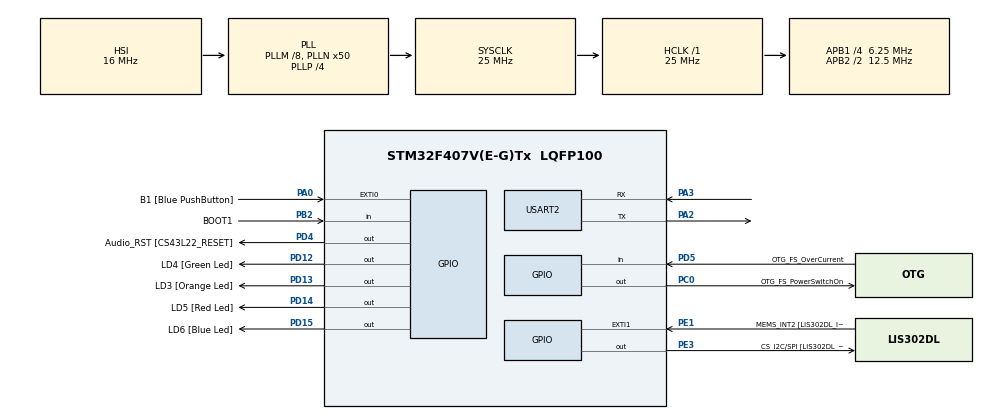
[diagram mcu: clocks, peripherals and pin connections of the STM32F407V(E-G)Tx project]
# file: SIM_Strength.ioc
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FREERTOS.Tasks01=defaultTask,0,128,StartDefaultTask,Default,NULL,Dynamic,NULL,NULL
Mcu.Family=STM32F4
Mcu.Name=STM32F407V(E-G)Tx
Mcu.Package=LQFP100
NVIC.PriorityGroup=NVIC_PRIORITYGROUP_4
NVIC.TIM6_DAC_IRQn=true\:15\:0\:false\:false\:true\:false\:false\:true\:true
NVIC.TimeBase=TIM6_DAC_IRQn
NVIC.TimeBaseIP=TIM6
NVIC.USART2_IRQn=true\:6\:0\:true\:false\:true\:true\:true\:true\:true
PA0-WKUP.GPIO_Label=B1 [Blue PushButton]
PA0-WKUP.Signal=GPXTI0
PA10.GPIO_Label=OTG_FS_ID
PA10.GPIO_Mode=GPIO_MODE_AF_PP
PA10.GPIO_PuPd=GPIO_NOPULL
PA10.GPIO_Speed=GPIO_SPEED_FREQ_LOW
PA10.Signal=USB_OTG_FS_ID
PA11.GPIO_Label=OTG_FS_DM
PA11.GPIO_Mode=GPIO_MODE_AF_PP
PA11.GPIO_PuPd=GPIO_NOPULL
PA11.GPIO_Speed=GPIO_SPEED_FREQ_LOW
PA11.Signal=USB_OTG_FS_DM
PA12.GPIO_Label=OTG_FS_DP
PA12.GPIO_Mode=GPIO_MODE_AF_PP
PA12.GPIO_PuPd=GPIO_NOPULL
PA12.GPIO_Speed=GPIO_SPEED_FREQ_LOW
PA12.Signal=USB_OTG_FS_DP
PA13.GPIO_Label=SWDIO
PA13.Signal=SYS_JTMS-SWDIO
PA14.GPIO_Label=SWCLK
PA14.Signal=SYS_JTCK-SWCLK
PA2.Mode=Asynchronous
PA2.Signal=USART2_TX
PA3.Mode=Asynchronous
PA3.Signal=USART2_RX
PA4.GPIO_Label=I2S3_WS [CS43L22_LRCK]
PA4.GPIO_Mode=GPIO_MODE_AF_PP
PA4.GPIO_PuPd=GPIO_NOPULL
PA4.GPIO_Speed=GPIO_SPEED_FREQ_LOW
PA4.Signal=I2S3_WS
PA5.GPIO_Label=SPI1_SCK [LIS302DL_SCL/SPC]
PA5.GPIO_Mode=GPIO_MODE_AF_PP
PA5.GPIO_PuPd=GPIO_NOPULL
PA5.GPIO_Speed=GPIO_SPEED_FREQ_LOW
PA5.Signal=SPI1_SCK
PA6.GPIO_Label=SPI1_MISO [LIS302DL_SDO]
PA6.GPIO_Mode=GPIO_MODE_AF_PP
PA6.GPIO_PuPd=GPIO_NOPULL
PA6.GPIO_Speed=GPIO_SPEED_FREQ_LOW
PA6.Signal=SPI1_MISO
PA7.GPIO_Label=SPI1_MOSI [LIS302DL_SDA/SDI/SDO]
PA7.GPIO_Mode=GPIO_MODE_AF_PP
PA7.GPIO_PuPd=GPIO_NOPULL
PA7.GPIO_Speed=GPIO_SPEED_FREQ_LOW
PA7.Signal=SPI1_MOSI
PA9.GPIO_Label=VBUS_FS
PA9.GPIO_Mode=GPIO_MODE_INPUT
PA9.GPIO_PuPd=GPIO_NOPULL
PA9.Signal=USB_OTG_FS_VBUS
PB10.GPIO_Label=CLK_IN [MP45DT02_CLK]
PB10.GPIO_Mode=GPIO_MODE_AF_PP
PB10.GPIO_PuPd=GPIO_NOPULL
PB10.GPIO_Speed=GPIO_SPEED_FREQ_LOW
PB10.Signal=I2S2_CK
PB2.GPIO_Label=BOOT1
PB2.GPIO_Mode=GPIO_MODE_INPUT
PB2.GPIO_PuPd=GPIO_NOPULL
PB2.Signal=GPIO_Input
PB3.GPIO_Label=SWO
PB3.Signal=SYS_JTDO-SWO
PB6.GPIO_Label=Audio_SCL [CS43L22_SCL]
PB6.GPIO_Mode=GPIO_MODE_AF_OD
PB6.GPIO_PuPd=GPIO_NOPULL
PB6.GPIO_Speed=GPIO_SPEED_FREQ_LOW
PB6.Signal=I2C1_SCL
PB9.GPIO_Label=Audio_SDA [CS43L22_SDA]
PB9.GPIO_Mode=GPIO_MODE_AF_OD
PB9.GPIO_PuPd=GPIO_NOPULL
PB9.GPIO_Speed=GPIO_SPEED_FREQ_LOW
PB9.Signal=I2C1_SDA
PC0.GPIO_Label=OTG_FS_PowerSwitchOn
PC0.GPIO_PuPd=GPIO_NOPULL
PC0.GPIO_Speed=GPIO_SPEED_FREQ_LOW
PC0.PinState=GPIO_PIN_SET
PC0.Signal=GPIO_Output
PC10.GPIO_Label=I2S3_SCK [CS43L22_SCLK]
PC10.GPIO_Mode=GPIO_MODE_AF_PP
PC10.GPIO_PuPd=GPIO_NOPULL
PC10.GPIO_Speed=GPIO_SPEED_FREQ_LOW
PC10.Signal=I2S3_CK
PC12.GPIO_Label=I2S3_SD [CS43L22_SDIN]
PC12.GPIO_Mode=GPIO_MODE_AF_PP
PC12.GPIO_PuPd=GPIO_NOPULL
PC12.GPIO_Speed=GPIO_SPEED_FREQ_LOW
PC12.Signal=I2S3_SD
PC14-OSC32_IN.GPIO_Label=PC14-OSC32_IN
PC14-OSC32_IN.Signal=RCC_OSC32_IN
PC15-OSC32_OUT.GPIO_Label=PC15-OSC32_OUT
PC15-OSC32_OUT.Signal=RCC_OSC32_OUT
PC3.GPIO_Label=PDM_OUT [MP45DT02_DOUT]
PC3.GPIO_Mode=GPIO_MODE_AF_PP
PC3.GPIO_PuPd=GPIO_NOPULL
PC3.GPIO_Speed=GPIO_SPEED_FREQ_LOW
PC3.Signal=I2S2_SD
PC7.GPIO_Label=I2S3_MCK [CS43L22_MCLK]
PC7.GPIO_Mode=GPIO_MODE_AF_PP
PC7.GPIO_PuPd=GPIO_NOPULL
PC7.GPIO_Speed=GPIO_SPEED_FREQ_LOW
PC7.Signal=I2S3_MCK
PD12.GPIO_Label=LD4 [Green Led]
PD12.GPIO_PuPd=GPIO_NOPULL
PD12.GPIO_Speed=GPIO_SPEED_FREQ_LOW
PD12.Signal=GPIO_Output
PD13.GPIO_Label=LD3 [Orange Led]
PD13.GPIO_PuPd=GPIO_NOPULL
PD13.GPIO_Speed=GPIO_SPEED_FREQ_LOW
PD13.Signal=GPIO_Output
PD14.GPIO_Label=LD5 [Red Led]
PD14.GPIO_PuPd=GPIO_NOPULL
PD14.GPIO_Speed=GPIO_SPEED_FREQ_LOW
PD14.Signal=GPIO_Output
PD15.GPIO_Label=LD6 [Blue Led]
PD15.GPIO_PuPd=GPIO_NOPULL
PD15.GPIO_Speed=GPIO_SPEED_FREQ_LOW
PD15.Signal=GPIO_Output
PD4.GPIO_Label=Audio_RST [CS43L22_RESET]
PD4.GPIO_PuPd=GPIO_NOPULL
PD4.GPIO_Speed=GPIO_SPEED_FREQ_LOW
PD4.Signal=GPIO_Output
PD5.GPIO_Label=OTG_FS_OverCurrent
PD5.GPIO_Mode=GPIO_MODE_INPUT
PD5.GPIO_PuPd=GPIO_NOPULL
PD5.Signal=GPIO_Input
PE1.GPIO_Label=MEMS_INT2 [LIS302DL_INT2]
PE1.GPIO_ModeDefaultEXTI=GPIO_MODE_EVT_RISING
PE1.GPIO_PuPd=GPIO_NOPULL
PE1.Signal=GPXTI1
PE3.GPIO_Label=CS_I2C/SPI [LIS302DL_CS_I2C/SPI]
PE3.GPIO_PuPd=GPIO_NOPULL
PE3.GPIO_Speed=GPIO_SPEED_FREQ_LOW
PE3.Signal=GPIO_Output
PH0-OSC_IN.GPIO_Label=PH0-OSC_IN
PH0-OSC_IN.Signal=RCC_OSC_IN
PH1-OSC_OUT.GPIO_Label=PH1-OSC_OUT
PH1-OSC_OUT.Signal=RCC_OSC_OUT
ProjectManager.HeapSize=0x200
ProjectManager.StackSize=0x400
ProjectManager.TargetToolchain=STM32CubeIDE
RCC.48MHZClocksFreq_Value=14285714.285714285
RCC.AHBFreq_Value=25000000
RCC.APB1CLKDivider=RCC_HCLK_DIV4
RCC.APB1Freq_Value=6250000
RCC.APB1TimFreq_Value=12500000
RCC.APB2CLKDivider=RCC_HCLK_DIV2
RCC.APB2Freq_Value=12500000
RCC.APB2TimFreq_Value=25000000
RCC.CortexFreq_Value=25000000
RCC.HCLKFreq_Value=25000000
RCC.HSE_VALUE=8000000
RCC.HSI_VALUE=16000000
RCC.LSE_VALUE=32768
RCC.PLLM=8
RCC.PLLN=50
RCC.PLLP=RCC_PLLP_DIV4
RCC.PLLQ=7
RCC.SYSCLKFreq_VALUE=25000000
RCC.SYSCLKSource=RCC_SYSCLKSOURCE_PLLCLK
RCC.VCOOutputFreq_Value=100000000
USART2.VirtualMode=VM_ASYNC
VP_FREERTOS_VS_CMSIS_V1.Mode=CMSIS_V1
VP_SYS_VS_tim6.Mode=TIM6
board=STM32F407G-DISC1

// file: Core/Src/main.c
/* USER CODE BEGIN Header */
/**
  ******************************************************************************
  * @file           : main.c
  * @brief          : Main program body
  ******************************************************************************
  * @attention
  *
  * Copyright (c) 2024 STMicroelectronics.
  * All rights reserved.
  *
  * This software is licensed under terms that can be found in the LICENSE file
  * in the root directory of this software component.
  * If no LICENSE file comes with this software, it is provided AS-IS.
  *
  ******************************************************************************
  */
/* USER CODE END Header */
#include "main.h"
#include "cmsis_os.h"

/* USER CODE BEGIN Includes */
#include "FreeRTOS.h"
#include <stdio.h>
#include "gsm.h"
/* USER CODE END Includes */

osThreadId defaultTaskHandle;

void SystemClock_Config(void);
static void MX_GPIO_Init(void);
static void MX_USART2_UART_Init(void);
void StartDefaultTask(void const * argument);

/* USER CODE BEGIN PFP */
static void gsm_signal_strength_handler(void* parameters);
static void gsm_sms_sent_handler(void* parameters);
/* USER CODE END PFP */

int main(void)
{
  /* USER CODE BEGIN 1 */
	TaskHandle_t task1_handle;
	TaskHandle_t task_handle;
	BaseType_t status;
  /* USER CODE END 1 */

  /* MCU Configuration--------------------------------------------------------*/

  /* Reset of all peripherals, Initializes the Flash interface and the Systick. */
  HAL_Init();

  /* Configure the system clock */
  SystemClock_Config();

  /* Initialize all configured peripherals */
  MX_GPIO_Init();
  MX_USART2_UART_Init();
  /* USER CODE BEGIN 2 */
  gsm_init();

  status = xTaskCreate(gsm_sms_sent_handler,
              "GSM_msg_task",
              512,
              NULL,
              2,
              &task_handle
                            );

  configASSERT(status == pdPASS);

  status = xTaskCreate(gsm_signal_strength_handler,
              "GSM_task",
              512,
              NULL,
              2,
              &task1_handle
                            );

  configASSERT(status == pdPASS);

  vTaskStartScheduler();

  /* USER CODE END 2 */

  /* Create the thread(s) */
  /* definition and creation of defaultTask */
  osThreadDef(defaultTask, StartDefaultTask, osPriorityNormal, 0, 128);
  defaultTaskHandle = osThreadCreate(osThread(defaultTask), NULL);

  /* Start scheduler */
  osKernelStart();

  /* We should never get here as control is now taken by the scheduler */
  /* Infinite loop */
  while (1)
  {

  }
}

void SystemClock_Config(void)
{
  RCC_OscInitTypeDef RCC_OscInitStruct = {0};
  RCC_ClkInitTypeDef RCC_ClkInitStruct = {0};

  /** Configure the main internal regulator output voltage
  */
  __HAL_RCC_PWR_CLK_ENABLE();
  __HAL_PWR_VOLTAGESCALING_CONFIG(PWR_REGULATOR_VOLTAGE_SCALE1);

  /** Initializes the RCC Oscillators according to the specified parameters
  * in the RCC_OscInitTypeDef structure.
  */
  RCC_OscInitStruct.OscillatorType = RCC_OSCILLATORTYPE_HSI;
  RCC_OscInitStruct.HSIState = RCC_HSI_ON;
  RCC_OscInitStruct.HSICalibrationValue = RCC_HSICALIBRATION_DEFAULT;
  RCC_OscInitStruct.PLL.PLLState = RCC_PLL_ON;
  RCC_OscInitStruct.PLL.PLLSource = RCC_PLLSOURCE_HSI;
  RCC_OscInitStruct.PLL.PLLM = 8;
  RCC_OscInitStruct.PLL.PLLN = 50;
  RCC_OscInitStruct.PLL.PLLP = RCC_PLLP_DIV4;
  RCC_OscInitStruct.PLL.PLLQ = 7;
  if (HAL_RCC_OscConfig(&RCC_OscInitStruct) != HAL_OK)
  {
    Error_Handler();
  }

  /** Initializes the CPU, AHB and APB buses clocks
  */
  RCC_ClkInitStruct.ClockType = RCC_CLOCKTYPE_HCLK|RCC_CLOCKTYPE_SYSCLK
                              |RCC_CLOCKTYPE_PCLK1|RCC_CLOCKTYPE_PCLK2;
  RCC_ClkInitStruct.SYSCLKSource = RCC_SYSCLKSOURCE_PLLCLK;
  RCC_ClkInitStruct.AHBCLKDivider = RCC_SYSCLK_DIV1;
  RCC_ClkInitStruct.APB1CLKDivider = RCC_HCLK_DIV4;
  RCC_ClkInitStruct.APB2CLKDivider = RCC_HCLK_DIV2;

  if (HAL_RCC_ClockConfig(&RCC_ClkInitStruct, FLASH_LATENCY_0) != HAL_OK)
  {
    Error_Handler();
  }
}

static void MX_USART2_UART_Init(void)
{

  LL_USART_InitTypeDef USART_InitStruct = {0};

  LL_GPIO_InitTypeDef GPIO_InitStruct = {0};

  /* Peripheral clock enable */
  LL_APB1_GRP1_EnableClock(LL_APB1_GRP1_PERIPH_USART2);

  LL_AHB1_GRP1_EnableClock(LL_AHB1_GRP1_PERIPH_GPIOA);
  /**USART2 GPIO Configuration
  PA2   ------> USART2_TX
  PA3   ------> USART2_RX
  */
  GPIO_InitStruct.Pin = LL_GPIO_PIN_2|LL_GPIO_PIN_3;
  GPIO_InitStruct.Mode = LL_GPIO_MODE_ALTERNATE;
  GPIO_InitStruct.Speed = LL_GPIO_SPEED_FREQ_VERY_HIGH;
  GPIO_InitStruct.OutputType = LL_GPIO_OUTPUT_PUSHPULL;
  GPIO_InitStruct.Pull = LL_GPIO_PULL_NO;
  GPIO_InitStruct.Alternate = LL_GPIO_AF_7;
  LL_GPIO_Init(GPIOA, &GPIO_InitStruct);

  /* USART2 interrupt Init */
  NVIC_SetPriority(USART2_IRQn, NVIC_EncodePriority(NVIC_GetPriorityGrouping(),6, 0));
  NVIC_EnableIRQ(USART2_IRQn);

  USART_InitStruct.BaudRate = 115200;
  USART_InitStruct.DataWidth = LL_USART_DATAWIDTH_8B;
  USART_InitStruct.StopBits = LL_USART_STOPBITS_1;
  USART_InitStruct.Parity = LL_USART_PARITY_NONE;
  USART_InitStruct.TransferDirection = LL_USART_DIRECTION_TX_RX;
  USART_InitStruct.HardwareFlowControl = LL_USART_HWCONTROL_NONE;
  USART_InitStruct.OverSampling = LL_USART_OVERSAMPLING_16;
  LL_USART_Init(USART2, &USART_InitStruct);
  LL_USART_ConfigAsyncMode(USART2);
  LL_USART_Enable(USART2);

}

static void MX_GPIO_Init(void)
{
  GPIO_InitTypeDef GPIO_InitStruct = {0};

  /* GPIO Ports Clock Enable */
  __HAL_RCC_GPIOE_CLK_ENABLE();
  __HAL_RCC_GPIOC_CLK_ENABLE();
  __HAL_RCC_GPIOH_CLK_ENABLE();
  __HAL_RCC_GPIOA_CLK_ENABLE();
  __HAL_RCC_GPIOB_CLK_ENABLE();
  __HAL_RCC_GPIOD_CLK_ENABLE();

  /*Configure GPIO pin Output Level */
  HAL_GPIO_WritePin(CS_I2C_SPI_GPIO_Port, CS_I2C_SPI_Pin, GPIO_PIN_RESET);

  /*Configure GPIO pin Output Level */
  HAL_GPIO_WritePin(OTG_FS_PowerSwitchOn_GPIO_Port, OTG_FS_PowerSwitchOn_Pin, GPIO_PIN_SET);

  /*Configure GPIO pin Output Level */
  HAL_GPIO_WritePin(GPIOD, LD4_Pin|LD3_Pin|LD5_Pin|LD6_Pin
                          |Audio_RST_Pin, GPIO_PIN_RESET);

  /*Configure GPIO pin : CS_I2C_SPI_Pin */
  GPIO_InitStruct.Pin = CS_I2C_SPI_Pin;
  GPIO_InitStruct.Mode = GPIO_MODE_OUTPUT_PP;
  GPIO_InitStruct.Pull = GPIO_NOPULL;
  GPIO_InitStruct.Speed = GPIO_SPEED_FREQ_LOW;
  HAL_GPIO_Init(CS_I2C_SPI_GPIO_Port, &GPIO_InitStruct);

  /*Configure GPIO pin : OTG_FS_PowerSwitchOn_Pin */
  GPIO_InitStruct.Pin = OTG_FS_PowerSwitchOn_Pin;
  GPIO_InitStruct.Mode = GPIO_MODE_OUTPUT_PP;
  GPIO_InitStruct.Pull = GPIO_NOPULL;
  GPIO_InitStruct.Speed = GPIO_SPEED_FREQ_LOW;
  HAL_GPIO_Init(OTG_FS_PowerSwitchOn_GPIO_Port, &GPIO_InitStruct);

  /*Configure GPIO pin : PDM_OUT_Pin */
  GPIO_InitStruct.Pin = PDM_OUT_Pin;
  GPIO_InitStruct.Mode = GPIO_MODE_AF_PP;
  GPIO_InitStruct.Pull = GPIO_NOPULL;
  GPIO_InitStruct.Speed = GPIO_SPEED_FREQ_LOW;
  GPIO_InitStruct.Alternate = GPIO_AF5_SPI2;
  HAL_GPIO_Init(PDM_OUT_GPIO_Port, &GPIO_InitStruct);

  /*Configure GPIO pin : B1_Pin */
  GPIO_InitStruct.Pin = B1_Pin;
  GPIO_InitStruct.Mode = GPIO_MODE_IT_RISING;
  GPIO_InitStruct.Pull = GPIO_NOPULL;
  HAL_GPIO_Init(B1_GPIO_Port, &GPIO_InitStruct);

  /*Configure GPIO pin : I2S3_WS_Pin */
  GPIO_InitStruct.Pin = I2S3_WS_Pin;
  GPIO_InitStruct.Mode = GPIO_MODE_AF_PP;
  GPIO_InitStruct.Pull = GPIO_NOPULL;
  GPIO_InitStruct.Speed = GPIO_SPEED_FREQ_LOW;
  GPIO_InitStruct.Alternate = GPIO_AF6_SPI3;
  HAL_GPIO_Init(I2S3_WS_GPIO_Port, &GPIO_InitStruct);

  /*Configure GPIO pins : SPI1_SCK_Pin SPI1_MISO_Pin SPI1_MOSI_Pin */
  GPIO_InitStruct.Pin = SPI1_SCK_Pin|SPI1_MISO_Pin|SPI1_MOSI_Pin;
  GPIO_InitStruct.Mode = GPIO_MODE_AF_PP;
  GPIO_InitStruct.Pull = GPIO_NOPULL;
  GPIO_InitStruct.Speed = GPIO_SPEED_FREQ_LOW;
  GPIO_InitStruct.Alternate = GPIO_AF5_SPI1;
  HAL_GPIO_Init(GPIOA, &GPIO_InitStruct);

  /*Configure GPIO pin : BOOT1_Pin */
  GPIO_InitStruct.Pin = BOOT1_Pin;
  GPIO_InitStruct.Mode = GPIO_MODE_INPUT;
  GPIO_InitStruct.Pull = GPIO_NOPULL;
  HAL_GPIO_Init(BOOT1_GPIO_Port, &GPIO_InitStruct);

  /*Configure GPIO pin : CLK_IN_Pin */
  GPIO_InitStruct.Pin = CLK_IN_Pin;
  GPIO_InitStruct.Mode = GPIO_MODE_AF_PP;
  GPIO_InitStruct.Pull = GPIO_NOPULL;
  GPIO_InitStruct.Speed = GPIO_SPEED_FREQ_LOW;
  GPIO_InitStruct.Alternate = GPIO_AF5_SPI2;
  HAL_GPIO_Init(CLK_IN_GPIO_Port, &GPIO_InitStruct);

  /*Configure GPIO pins : LD4_Pin LD3_Pin LD5_Pin LD6_Pin
                           Audio_RST_Pin */
  GPIO_InitStruct.Pin = LD4_Pin|LD3_Pin|LD5_Pin|LD6_Pin
                          |Audio_RST_Pin;
  GPIO_InitStruct.Mode = GPIO_MODE_OUTPUT_PP;
  GPIO_InitStruct.Pull = GPIO_NOPULL;
  GPIO_InitStruct.Speed = GPIO_SPEED_FREQ_LOW;
  HAL_GPIO_Init(GPIOD, &GPIO_InitStruct);

  /*Configure GPIO pins : I2S3_MCK_Pin I2S3_SCK_Pin I2S3_SD_Pin */
  GPIO_InitStruct.Pin = I2S3_MCK_Pin|I2S3_SCK_Pin|I2S3_SD_Pin;
  GPIO_InitStruct.Mode = GPIO_MODE_AF_PP;
  GPIO_InitStruct.Pull = GPIO_NOPULL;
  GPIO_InitStruct.Speed = GPIO_SPEED_FREQ_LOW;
  GPIO_InitStruct.Alternate = GPIO_AF6_SPI3;
  HAL_GPIO_Init(GPIOC, &GPIO_InitStruct);

  /*Configure GPIO pin : VBUS_FS_Pin */
  GPIO_InitStruct.Pin = VBUS_FS_Pin;
  GPIO_InitStruct.Mode = GPIO_MODE_INPUT;
  GPIO_InitStruct.Pull = GPIO_NOPULL;
  HAL_GPIO_Init(VBUS_FS_GPIO_Port, &GPIO_InitStruct);

  /*Configure GPIO pins : OTG_FS_ID_Pin OTG_FS_DM_Pin OTG_FS_DP_Pin */
  GPIO_InitStruct.Pin = OTG_FS_ID_Pin|OTG_FS_DM_Pin|OTG_FS_DP_Pin;
  GPIO_InitStruct.Mode = GPIO_MODE_AF_PP;
  GPIO_InitStruct.Pull = GPIO_NOPULL;
  GPIO_InitStruct.Speed = GPIO_SPEED_FREQ_LOW;
  GPIO_InitStruct.Alternate = GPIO_AF10_OTG_FS;
  HAL_GPIO_Init(GPIOA, &GPIO_InitStruct);

  /*Configure GPIO pin : OTG_FS_OverCurrent_Pin */
  GPIO_InitStruct.Pin = OTG_FS_OverCurrent_Pin;
  GPIO_InitStruct.Mode = GPIO_MODE_INPUT;
  GPIO_InitStruct.Pull = GPIO_NOPULL;
  HAL_GPIO_Init(OTG_FS_OverCurrent_GPIO_Port, &GPIO_InitStruct);

  /*Configure GPIO pins : Audio_SCL_Pin Audio_SDA_Pin */
  GPIO_InitStruct.Pin = Audio_SCL_Pin|Audio_SDA_Pin;
  GPIO_InitStruct.Mode = GPIO_MODE_AF_OD;
  GPIO_InitStruct.Pull = GPIO_NOPULL;
  GPIO_InitStruct.Speed = GPIO_SPEED_FREQ_LOW;
  GPIO_InitStruct.Alternate = GPIO_AF4_I2C1;
  HAL_GPIO_Init(GPIOB, &GPIO_InitStruct);

  /*Configure GPIO pin : MEMS_INT2_Pin */
  GPIO_InitStruct.Pin = MEMS_INT2_Pin;
  GPIO_InitStruct.Mode = GPIO_MODE_EVT_RISING;
  GPIO_InitStruct.Pull = GPIO_NOPULL;
  HAL_GPIO_Init(MEMS_INT2_GPIO_Port, &GPIO_InitStruct);

}

/* USER CODE BEGIN 4 */

static void gsm_signal_strength_handler(void* parameters)
{
	gsm_getSignalQuality_0_to_100();
	while (1)
	{
//		gsm_getSignalQuality_0_to_100();
	}
}

static void gsm_sms_sent_handler(void* parameters)
{
//	  gsm_waitForRegister(30);
	  gsm_init();
	  gsm_power(true);
	  gsm_msg_send("+919074418771", "Hi, This is a message from Sruthi");
	  while (1)
	  {

	  }
}

/* USER CODE END 4 */

void StartDefaultTask(void const * argument)
{
  for(;;)
  {
    osDelay(1);
  }
}

void HAL_TIM_PeriodElapsedCallback(TIM_HandleTypeDef *htim)
{
  if (htim->Instance == TIM6) {
    HAL_IncTick();
  }
}

void Error_Handler(void)
{
  __disable_irq();
  while (1)
  {
  }
}
